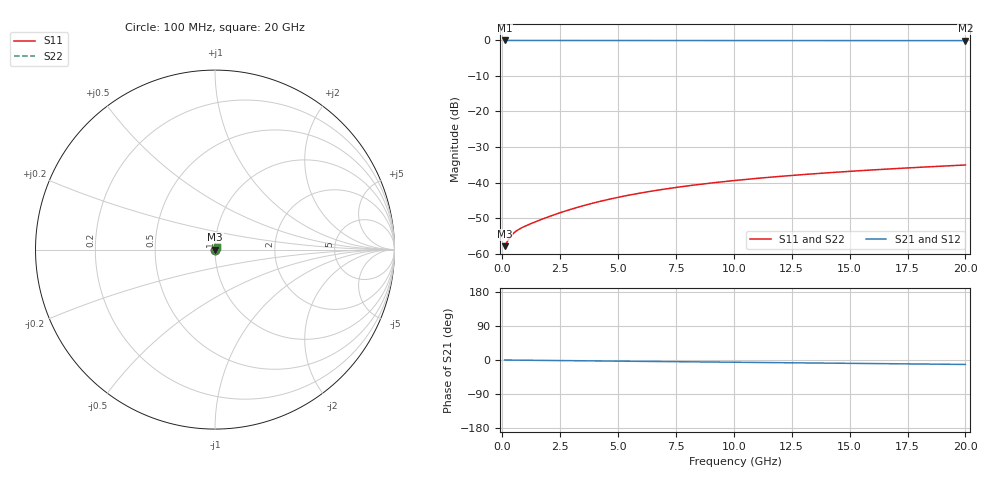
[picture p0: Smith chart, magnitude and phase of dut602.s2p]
! Touchstone file exported from HFSS 2026.1.0
!  File:  C:/ffzhzh/LocalFiles/Ansys_Project_Files/temp_train_BSMRDL_602_1783016076_55676.aedt
!  Generated:  02:15:56 AM Jul  3, 2026
!  Design:  BSMRDL
!  Project:  temp_train_BSMRDL_602_1783016076_55676
! Variables:
!  h_bsmrdl = 3.1um
!  h_ox = 20um
!  h_rdl = 5um
!  h_sub = 80um
!  h_tmrdl = 5um
!  h_tsv = 80um
!  h_via = 3um
!  l_bsmrdl = 196um
!  l_sub = 596um
!  l_tmrdl = 200um
!  m_sub = 200um
!  pitch = 28.1um
!  r_tsv = 6um
!  s_tmrdl = 10um
!  w_bsmrdl = 23.65um
!  w_sub = 500um
!  w_tmrdl = 12um
!  x_tsv_center1 = 206um
!  x_tsv_center2 = 425.65um
!  x_tsv_center3 = 637.65um
!  x_tsv_center4 = 857.3um
!  x_tsv_center5 = 1069.3um
!  x_tsv_center6 = 1288.95um
# GHz S MA R 50.000000
! Terminal data exported
! Port[1] = BSM_RDL1_1_T1
! Port[2] = BSM_RDL1_1_T2
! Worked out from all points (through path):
!   200 points, 100 MHz to 20 GHz, reference 50 ohm
!   highest |S21| = -0.01 dB at 100 MHz (marker M1); lowest = -0.1 dB at 20 GHz (marker M2)
!   group delay of S21, straight-line fit = 1.62 ps
!   lowest |S11| = -57.9 dB at 100 MHz (marker M3), VSWR 1.00, Z = 50.1 + j0.0296 ohm
!   |S11| at or under -10 dB: start of sweep to end of sweep
!   |S22| runs from -57.9 to -35.1 dB; largest |S21 - S12| = 2.5e-15
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0.1  0.001274 13.4  0.9988 -0.1  0.9988 -0.1  0.001274 13.4
! Gamma 0 0 0 0
! Port Impedance 50 0 50 0
0.3  0.001641 26.7  0.9985 -0.2  0.9985 -0.2  0.001641 26.7
0.4  0.001812 29.1  0.9984 -0.3  0.9984 -0.3  0.001812 29.1
0.5  0.001956 30.6  0.9983 -0.3  0.9983 -0.3  0.001956 30.6
0.6  0.002076 31.9  0.9982 -0.4  0.9982 -0.4  0.002076 31.9
0.8  0.002275 34.2  0.9981 -0.5  0.9981 -0.5  0.002275 34.2
1  0.002448 36.7  0.998 -0.6  0.998 -0.6  0.002448 36.7
1.3  0.002697 40.3  0.9979 -0.8  0.9979 -0.8  0.002697 40.3
2  0.003303 47.4  0.9978 -1.2  0.9978 -1.2  0.003303 47.5
2.7  0.003955 52.4  0.9977 -1.6  0.9977 -1.6  0.003955 52.4
3.5  0.004729 55.9  0.9975 -2.1  0.9975 -2.1  0.004729 55.9
4.2  0.005416 57.9  0.9973 -2.5  0.9973 -2.5  0.005416 57.9
5  0.006197 59.2  0.9971 -3.0  0.9971 -3.0  0.006197 59.2
5.9  0.007061 60.1  0.9968 -3.5  0.9968 -3.5  0.007061 60.1
6.8  0.007901 60.4  0.9966 -4.1  0.9966 -4.1  0.0079 60.4
8.3  0.009239 60.4  0.9961 -4.9  0.9961 -4.9  0.009238 60.4
10.1  0.01074 59.9  0.9956 -6.0  0.9956 -6.0  0.01074 59.9
11.7  0.012 59.2  0.9951 -6.9  0.9951 -6.9  0.01199 59.3
13.4  0.01325 58.5  0.9946 -7.9  0.9946 -7.9  0.01325 58.5
15  0.01438 57.9  0.9942 -8.8  0.9942 -8.8  0.01438 57.9
16.7  0.01554 57.2  0.9938 -9.8  0.9938 -9.8  0.01554 57.2
20  0.01767 55.8  0.9931 -11.7  0.9931 -11.7  0.01767 55.8
